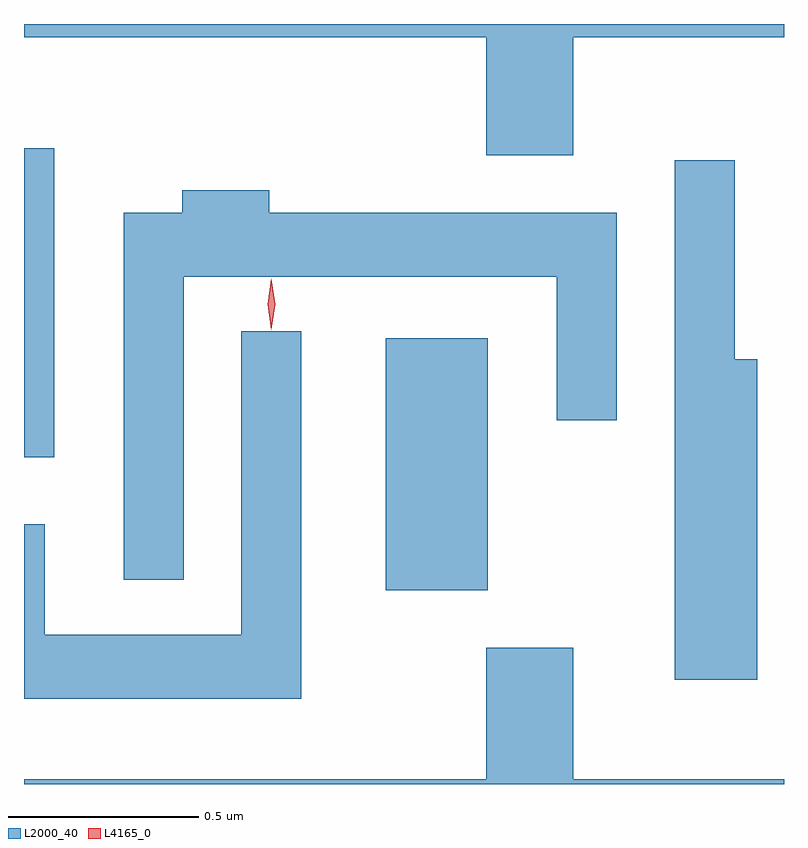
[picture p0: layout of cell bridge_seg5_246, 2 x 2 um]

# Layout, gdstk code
import gdstk
lib = gdstk.Library(unit=1e-6, precision=1e-09)
def R(c, l, rs):  # rectangles x0, y0, x1, y1
    for r in rs: c.add(gdstk.rectangle(r[:2], r[2:], *l))
def P(c, l, *ps):  # polygons
    for p in ps: c.add(gdstk.Polygon(p, *l))
L2000_40 = (2000, 40)
L4165_0 = (4165, 0)

bridge_seg5_246 = lib.new_cell('bridge_seg5_246')
R(bridge_seg5_246, L2000_40, [(1321.186,1426.481,1321.454,1427.144), (1320.234,1426.831,1320.314,1427.644)])
P(bridge_seg5_246, L2000_40, [(1321.679,1427.936),(1322.234,1427.936),(1322.234,1427.971),(1320.234,1427.971),(1320.234,1427.936),(1321.451,1427.936),(1321.451,1427.626),(1321.679,1427.626)],
  [(1322.164,1427.089),(1322.104,1427.089),(1322.104,1427.613),(1321.946,1427.613),(1321.946,1426.246),(1322.164,1426.246)],
  [(1320.654,1427.306),(1321.636,1427.306),(1321.636,1426.928),(1321.794,1426.928),(1321.794,1427.474),(1320.879,1427.474),(1320.879,1427.534),(1320.651,1427.534),(1320.651,1427.474),(1320.496,1427.474),(1320.496,1426.508),(1320.654,1426.508)],
  [(1320.964,1427.163),(1320.806,1427.163),(1320.806,1426.364),(1320.289,1426.364),(1320.289,1426.654),(1320.234,1426.654),(1320.234,1426.196),(1320.964,1426.196)],
  [(1322.234,1425.984),(1321.679,1425.984),(1321.679,1426.329),(1321.451,1426.329),(1321.451,1425.984),(1320.234,1425.984),(1320.234,1425.971),(1322.234,1425.971)])
P(bridge_seg5_246, L4165_0, [(1320.884,1427.167),(1320.875,1427.234),(1320.884,1427.3),(1320.885,1427.301),(1320.885,1427.3),(1320.895,1427.234),(1320.885,1427.167),(1320.885,1427.167)])

lib.write_gds('bridge_seg5_246.gds')
